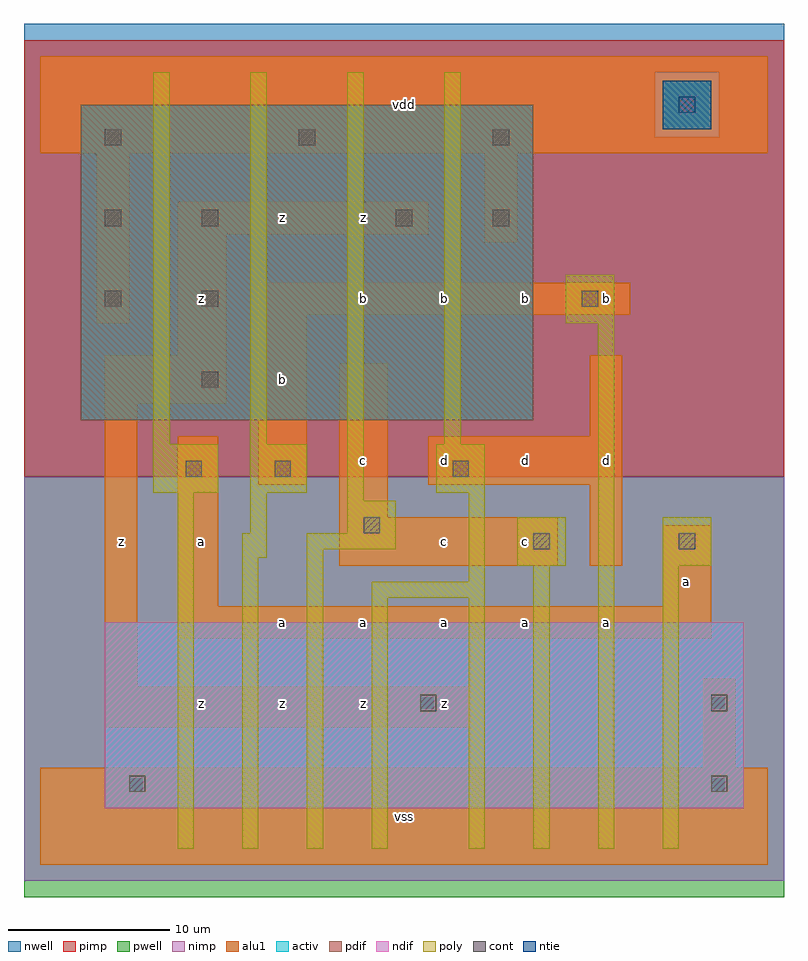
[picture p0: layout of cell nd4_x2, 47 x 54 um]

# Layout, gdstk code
import gdstk
lib = gdstk.Library(unit=1e-6, precision=1e-09)
def R(c, l, rs):  # rectangles x0, y0, x1, y1
    for r in rs: c.add(gdstk.rectangle(r[:2], r[2:], *l))
def A(c, l, x, y, w, h, nx, ny, dx, dy):  # array of equal rectangles
    R(c, l, [(x+i*dx, y+j*dy, x+i*dx+w, y+j*dy+h) for i in range(nx) for j in range(ny)])
ndif = (3, 0)
pdif = (4, 0)
ntie = (5, 0)
cont = (25, 0)
pwell = (41, 0)
nwell = (42, 0)
activ = (43, 0)
pimp = (44, 0)
nimp = (45, 0)
poly = (46, 0)
alu1 = (49, 0)

nd4_x2 = lib.new_cell('nd4_x2')
R(nd4_x2, ndif, [(4,3.5,43.5,15)])
R(nd4_x2, pdif, [(2.5,27.5,30.5,47)])
R(nd4_x2, ntie, [(38.5,45.5,41.5,48.5)])
A(nd4_x2, cont, 10, 29.5, 1, 1, 1, 3, 0, 5)
A(nd4_x2, cont, 4, 44.5, 1, 1, 3, 1, 12, 0)
R(nd4_x2, cont, [(5.5,4.5,6.5,5.5), (41.5,4.5,42.5,5.5), (23.5,9.5,24.5,10.5), (41.5,9.5,42.5,10.5), (30.5,19.5,31.5,20.5), (39.5,19.5,40.5,20.5), (20,20.5,21,21.5), (9,24,10,25), (14.5,24,15.5,25), (25.5,24,26.5,25), (4,34.5,5,35.5), (33.5,34.5,34.5,35.5), (4,39.5,5,40.5), (22,39.5,23,40.5), (28,39.5,29,40.5), (39.5,46.5,40.5,47.5)])
R(nd4_x2, pwell, [(-1,-2,46,24)])
R(nd4_x2, nwell, [(-1,24,46,52)])
R(nd4_x2, activ, [(4,3.5,43.5,15), (2.5,27.5,30.5,47), (38.5,45.5,41.5,48.5)])
R(nd4_x2, pimp, [(-1,24,46,45), (-1,45,38,49), (42,45,46,49), (-1,49,46,51)])
R(nd4_x2, nimp, [(-1,-1,46,24), (38,45,42,49)])
R(nd4_x2, poly, [(8.5,1,9.5,23), (12.5,1,13.5,19), (16.5,1,17.5,19.5), (20.5,1,21.5,16.5), (26.5,1,27.5,16.5), (30.5,1,31.5,18.5), (34.5,1,35.5,33.5), (38.5,1,39.5,18.5), (20.5,16.5,27.5,17.5), (26.5,17.5,27.5,23), (29.5,18.5,32.5,21.5), (38.5,18.5,41.5,21.5), (12.5,19,14,20.5), (16.5,19.5,22,20.5), (13,20.5,14,23), (19,20.5,22,22.5), (19,22.5,20,49), (7,23,11,26), (13,23,16.5,26), (24.5,23,27.5,26), (7,26,8,49), (13,26,14,49), (25,26,26,49), (32.5,33.5,35.5,36.5)])
R(nd4_x2, alu1, [(0,0,45,6), (41,6,43,11.5), (4,8.5,26.5,11), (4,11,6,28.5), (8.5,14,41.5,16), (8.5,16,11,26.5), (38.5,16,41.5,21), (18.5,18.5,32,21.5), (34,18.5,36,23.5), (18.5,21.5,21.5,31), (13.5,23.5,16.5,34), (24,23.5,36,26.5), (34,26.5,36,31.5), (4,28.5,11.5,31.5), (8.5,31.5,11.5,39), (3.5,33.5,5.5,44), (13.5,34,36.5,36), (27.5,38.5,29.5,44), (8.5,39,24,41), (0,44,45,50)])
nd4_x2.add(gdstk.Label('z', (5,20), layer=49, texttype=0))
nd4_x2.add(gdstk.Label('z', (15,10), layer=49, texttype=0))
nd4_x2.add(gdstk.Label('z', (10,10), layer=49, texttype=0))
nd4_x2.add(gdstk.Label('a', (15,15), layer=49, texttype=0))
nd4_x2.add(gdstk.Label('a', (10,20), layer=49, texttype=0))
nd4_x2.add(gdstk.Label('b', (15,30), layer=49, texttype=0))
nd4_x2.add(gdstk.Label('z', (10,35), layer=49, texttype=0))
nd4_x2.add(gdstk.Label('z', (15,40), layer=49, texttype=0))
nd4_x2.add(gdstk.Label('vss', (22.5,3), layer=49, texttype=0))
nd4_x2.add(gdstk.Label('z', (20,10), layer=49, texttype=0))
nd4_x2.add(gdstk.Label('z', (25,10), layer=49, texttype=0))
nd4_x2.add(gdstk.Label('a', (20,15), layer=49, texttype=0))
nd4_x2.add(gdstk.Label('a', (25,15), layer=49, texttype=0))
nd4_x2.add(gdstk.Label('c', (25,20), layer=49, texttype=0))
nd4_x2.add(gdstk.Label('c', (20,25), layer=49, texttype=0))
nd4_x2.add(gdstk.Label('d', (25,25), layer=49, texttype=0))
nd4_x2.add(gdstk.Label('b', (25,35), layer=49, texttype=0))
nd4_x2.add(gdstk.Label('b', (20,35), layer=49, texttype=0))
nd4_x2.add(gdstk.Label('z', (20,40), layer=49, texttype=0))
nd4_x2.add(gdstk.Label('vdd', (22.5,47), layer=49, texttype=0))
nd4_x2.add(gdstk.Label('a', (30,15), layer=49, texttype=0))
nd4_x2.add(gdstk.Label('a', (35,15), layer=49, texttype=0))
nd4_x2.add(gdstk.Label('c', (30,20), layer=49, texttype=0))
nd4_x2.add(gdstk.Label('d', (35,25), layer=49, texttype=0))
nd4_x2.add(gdstk.Label('d', (30,25), layer=49, texttype=0))
nd4_x2.add(gdstk.Label('b', (35,35), layer=49, texttype=0))
nd4_x2.add(gdstk.Label('b', (30,35), layer=49, texttype=0))
nd4_x2.add(gdstk.Label('a', (40,17.5), layer=49, texttype=0))

lib.write_gds('nd4_x2.gds')
